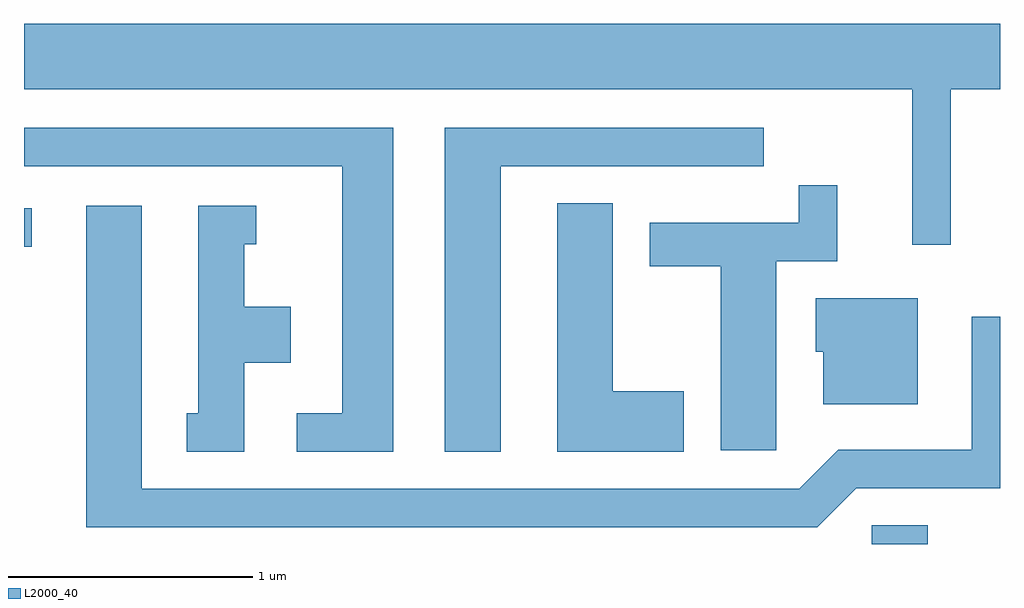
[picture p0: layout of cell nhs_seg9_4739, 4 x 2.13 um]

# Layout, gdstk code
import gdstk
lib = gdstk.Library(unit=1e-6, precision=1e-09)
def R(c, l, rs):  # rectangles x0, y0, x1, y1
    for r in rs: c.add(gdstk.rectangle(r[:2], r[2:], *l))
def P(c, l, *ps):  # polygons
    for p in ps: c.add(gdstk.Polygon(p, *l))
L2000_40 = (2000, 40)

nhs_seg9_4739 = lib.new_cell('nhs_seg9_4739')
R(nhs_seg9_4739, L2000_40, [(329.086,1954.432,329.314,1954.509), (325.611,1955.651,325.643,1955.809)])
P(nhs_seg9_4739, L2000_40, [(329.409,1956.296),(329.611,1956.296),(329.611,1956.564),(325.611,1956.564),(325.611,1956.296),(329.251,1956.296),(329.251,1955.658),(329.409,1955.658)],
  [(327.124,1956.139),(325.611,1956.139),(325.611,1955.981),(326.916,1955.981),(326.916,1954.969),(326.728,1954.969),(326.728,1954.811),(327.124,1954.811)],
  [(327.564,1955.981),(328.643,1955.981),(328.643,1956.139),(327.336,1956.139),(327.336,1954.811),(327.564,1954.811)],
  [(328.694,1955.591),(328.944,1955.591),(328.944,1955.903),(328.786,1955.903),(328.786,1955.749),(328.176,1955.749),(328.176,1955.571),(328.466,1955.571),(328.466,1954.816),(328.694,1954.816)],
  [(328.314,1955.059),(328.024,1955.059),(328.024,1955.829),(327.796,1955.829),(327.796,1954.811),(328.314,1954.811)],
  [(326.514,1955.176),(326.704,1955.176),(326.704,1955.404),(326.514,1955.404),(326.514,1955.661),(326.563,1955.661),(326.563,1955.819),(326.326,1955.819),(326.326,1954.969),(326.278,1954.969),(326.278,1954.811),(326.514,1954.811)],
  [(329.022,1954.661),(329.611,1954.661),(329.611,1955.363),(329.496,1955.363),(329.496,1954.819),(328.949,1954.819),(328.789,1954.659),(326.094,1954.659),(326.094,1955.819),(325.866,1955.819),(325.866,1954.501),(328.862,1954.501)],
  [(329.274,1955.439),(328.856,1955.439),(328.856,1955.221),(328.886,1955.221),(328.886,1955.006),(329.274,1955.006)])

lib.write_gds('nhs_seg9_4739.gds')
